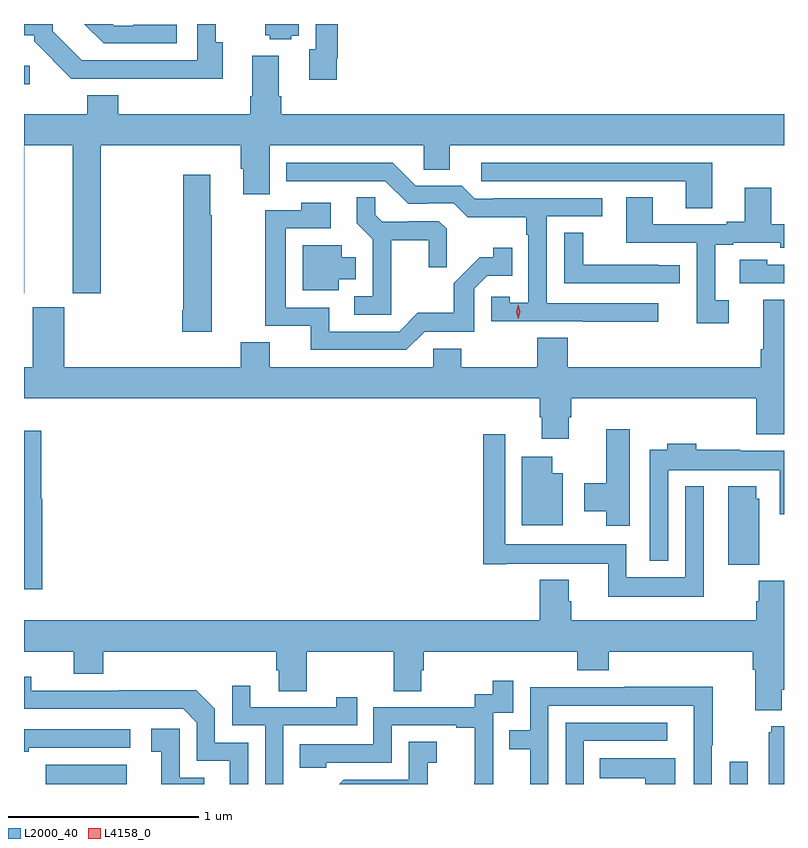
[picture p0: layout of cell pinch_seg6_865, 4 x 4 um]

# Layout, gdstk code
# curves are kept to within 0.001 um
import gdstk
lib = gdstk.Library(unit=1e-6, precision=1e-09)
def R(c, l, rs):  # rectangles x0, y0, x1, y1
    for r in rs: c.add(gdstk.rectangle(r[:2], r[2:], *l))
def P(c, l, *ps):  # polygons
    for p in ps: c.add(gdstk.Polygon(p, *l))
L2000_40 = (2000, 40)
L4158_0 = (4158, 0)

pinch_seg6_865 = lib.new_cell('pinch_seg6_865')
R(pinch_seg6_865, L2000_40, [(182.613,950.635,183.04,950.737), (186.213,950.635,186.309,950.752), (182.499,954.317,182.53,954.415)])
P(pinch_seg6_865, L2000_40, [(183.906,954.572),(183.946,954.572),(183.946,954.635),(183.77,954.635),(183.77,954.576),(183.792,954.576),(183.792,954.554),(183.906,954.554)],
  [(183.304,954.63),(183.073,954.63),(183.073,954.627),(182.973,954.627),(182.965,954.635),(182.817,954.635),(182.918,954.534),(183.304,954.534)],
  [(184.144,954.454),(184.151,954.454),(184.151,954.635),(184.035,954.635),(184.035,954.503),(184.001,954.503),(184.001,954.342),(184.144,954.342)],
  [(183.544,954.538),(183.507,954.538),(183.507,954.635),(183.411,954.635),(183.411,954.444),(182.802,954.444),(182.649,954.597),(182.649,954.635),(182.499,954.635),(182.499,954.575),(182.553,954.575),(182.553,954.543),(182.748,954.348),(183.544,954.347)],
  [(183.793,953.996),(184.602,953.996),(184.602,953.869),(184.741,953.869),(184.741,953.996),(186.499,953.996),(186.499,954.16),(183.854,954.16),(183.854,954.256),(183.841,954.256),(183.841,954.469),(183.701,954.469),(183.701,954.256),(183.689,954.256),(183.689,954.16),(182.996,954.16),(182.996,954.259),(182.831,954.259),(182.831,954.16),(182.499,954.16),(182.499,953.217),(182.5,953.217),(182.5,953.996),(182.756,953.996),(182.756,953.217),(182.904,953.217),(182.904,953.996),(183.641,953.996),(183.641,953.874),(183.653,953.874),(183.653,953.74),(183.793,953.74)],
  [(186.121,953.904),(184.905,953.904),(184.905,953.808),(185.981,953.808),(185.981,953.665),(186.121,953.665)],
  [(185.836,953.166),(185.25,953.166),(185.25,953.622),(185.542,953.622),(185.542,953.718),(184.972,953.718),(184.972,953.715),(184.872,953.715),(184.803,953.784),(184.56,953.784),(184.44,953.904),(183.878,953.904),(183.878,953.808),(184.401,953.808),(184.521,953.688),(184.622,953.688),(184.622,953.691),(184.761,953.691),(184.834,953.618),(185.142,953.618),(185.142,953.525),(185.154,953.525),(185.154,953.167),(185.055,953.167),(185.055,953.199),(184.959,953.199),(184.959,953.07),(185.443,953.07),(185.443,953.068),(185.836,953.068)],
  [(183.486,953.629),(183.478,953.629),(183.478,953.842),(183.337,953.842),(183.337,953.128),(183.332,953.128),(183.332,953.016),(183.486,953.016)],
  [(186.208,953.181),(186.136,953.181),(186.136,953.472),(186.232,953.472),(186.232,953.484),(186.48,953.484),(186.48,953.457),(186.499,953.457),(186.499,953.58),(186.433,953.58),(186.433,953.773),(186.293,953.773),(186.293,953.593),(186.197,953.593),(186.197,953.58),(185.809,953.58),(185.809,953.723),(185.669,953.723),(185.669,953.484),(186.039,953.484),(186.039,953.061),(186.208,953.061)],
  [(184.433,953.498),(184.63,953.498),(184.63,953.355),(184.724,953.355),(184.724,953.557),(184.683,953.598),(184.518,953.598),(184.518,953.595),(184.384,953.595),(184.347,953.632),(184.347,953.723),(184.249,953.723),(184.249,953.587),(184.335,953.501),(184.335,953.202),(184.236,953.202),(184.236,953.106),(184.433,953.106)],
  [(184.608,953.016),(184.869,953.016),(184.869,953.241),(184.938,953.31),(185.069,953.31),(185.069,953.458),(184.968,953.458),(184.968,953.408),(184.898,953.408),(184.761,953.27),(184.761,953.115),(184.572,953.115),(184.473,953.016),(184.105,953.016),(184.105,953.142),(183.876,953.142),(183.876,953.559),(184.114,953.559),(184.114,953.695),(183.958,953.695),(183.958,953.655),(183.768,953.655),(183.768,953.046),(184.007,953.046),(184.007,952.92),(184.512,952.92)],
  [(185.95,953.366),(185.837,953.366),(185.837,953.367),(185.442,953.367),(185.442,953.537),(185.343,953.537),(185.343,953.271),(185.95,953.271)],
  [(184.156,953.291),(184.246,953.291),(184.246,953.407),(184.171,953.407),(184.171,953.47),(183.965,953.47),(183.965,953.234),(184.156,953.234)],
  [(186.499,953.367),(186.411,953.367),(186.411,953.395),(186.267,953.395),(186.267,953.271),(186.499,953.271)],
  [(185.365,952.566),(185.378,952.566),(185.378,952.664),(186.353,952.664),(186.353,952.475),(186.499,952.475),(186.499,953.185),(186.389,953.185),(186.389,952.924),(186.377,952.924),(186.377,952.828),(185.36,952.828),(185.36,952.985),(185.2,952.985),(185.2,952.828),(184.8,952.828),(184.8,952.926),(184.653,952.926),(184.653,952.828),(183.793,952.828),(183.793,952.961),(183.641,952.961),(183.641,952.828),(182.71,952.828),(182.71,953.145),(182.546,953.145),(182.546,952.828),(182.499,952.828),(182.499,952.664),(185.213,952.664),(185.213,952.566),(185.225,952.566),(185.225,952.452),(185.365,952.452)],
  [(185.686,952.501),(185.564,952.501),(185.564,952.218),(185.447,952.218),(185.447,952.07),(185.564,952.07),(185.564,951.993),(185.686,951.993)],
  [(182.596,952.137),(182.591,952.137),(182.591,952.495),(182.499,952.495),(182.499,951.66),(182.596,951.66)],
  [(186.076,952.201),(185.979,952.201),(185.979,951.724),(185.67,951.724),(185.67,951.898),(185.031,951.898),(185.031,952.477),(184.915,952.477),(184.915,951.792),(185.038,951.792),(185.038,951.794),(185.573,951.794),(185.573,951.62),(186.076,951.62)],
  [(185.889,952.286),(186.477,952.286),(186.477,952.056),(186.499,952.056),(186.499,952.39),(186.269,952.39),(186.269,952.393),(186.038,952.393),(186.038,952.426),(185.885,952.426),(185.885,952.393),(185.793,952.393),(185.793,951.809),(185.889,951.809)],
  [(185.335,952.27),(185.278,952.27),(185.278,952.357),(185.12,952.357),(185.12,951.998),(185.335,951.998)],
  [(186.37,952.137),(186.352,952.137),(186.352,952.201),(186.206,952.201),(186.206,951.79),(186.37,951.79)],
  [(182.499,951.332),(182.762,951.332),(182.762,951.215),(182.915,951.215),(182.915,951.332),(183.827,951.332),(183.827,951.234),(183.839,951.234),(183.839,951.124),(183.987,951.124),(183.987,951.332),(184.444,951.332),(184.444,951.124),(184.591,951.124),(184.591,951.234),(184.604,951.234),(184.604,951.332),(185.411,951.332),(185.411,951.233),(185.576,951.233),(185.576,951.332),(186.335,951.332),(186.335,951.236),(186.347,951.236),(186.347,951.023),(186.487,951.023),(186.487,951.13),(186.499,951.13),(186.499,951.705),(186.365,951.705),(186.365,951.596),(186.353,951.596),(186.353,951.496),(185.378,951.496),(185.378,951.597),(185.365,951.597),(185.365,951.709),(185.213,951.709),(185.213,951.496),(182.499,951.496)],
  [(183.678,950.853),(183.504,950.853),(183.504,951.03),(183.406,951.128),(182.998,951.128),(182.998,951.126),(182.538,951.126),(182.538,951.199),(182.499,951.199),(182.499,951.03),(183.336,951.03),(183.408,950.958),(183.408,950.757),(183.581,950.757),(183.581,950.635),(183.678,950.635)],
  [(184.97,950.78),(184.968,950.78),(184.968,951.009),(185.073,951.009),(185.073,951.178),(184.965,951.178),(184.965,951.108),(184.872,951.108),(184.872,951.039),(184.338,951.039),(184.338,950.844),(183.949,950.844),(183.949,950.721),(184.089,950.721),(184.089,950.748),(184.434,950.748),(184.434,950.943),(184.775,950.943),(184.775,950.931),(184.871,950.931),(184.871,950.647),(184.87,950.647),(184.87,950.635),(184.97,950.635)],
  [(183.864,950.943),(184.253,950.943),(184.253,951.091),(184.142,951.091),(184.142,951.039),(183.691,951.039),(183.691,951.151),(183.594,951.151),(183.594,950.943),(183.768,950.943),(183.768,950.635),(183.864,950.635)],
  [(185.259,951.048),(186.023,951.048),(186.023,950.8),(186.024,950.8),(186.024,950.635),(186.12,950.635),(186.12,950.839),(186.123,950.839),(186.123,951.146),(185.659,951.146),(185.659,951.144),(185.163,951.144),(185.163,950.919),(185.053,950.919),(185.053,950.818),(185.163,950.818),(185.163,950.635),(185.259,950.635)],
  [(185.445,950.862),(185.884,950.862),(185.884,950.958),(185.349,950.958),(185.349,950.635),(185.445,950.635)],
  [(186.499,950.938),(186.431,950.938),(186.431,950.907),(186.419,950.907),(186.419,950.635),(186.499,950.635)],
  [(183.447,950.667),(183.318,950.667),(183.318,950.926),(183.168,950.926),(183.168,950.805),(183.221,950.805),(183.221,950.635),(183.447,950.635)],
  [(182.525,950.826),(183.058,950.826),(183.058,950.922),(182.499,950.922),(182.499,950.806),(182.525,950.806)],
  [(184.623,950.747),(184.672,950.747),(184.672,950.857),(184.524,950.857),(184.524,950.658),(184.182,950.658),(184.159,950.635),(184.623,950.635)],
  [(185.926,950.77),(185.53,950.77),(185.53,950.666),(185.769,950.666),(185.769,950.635),(185.926,950.635)])
P(pinch_seg6_865, L4158_0, [(185.1,953.085),(185.1,953.085),(185.09,953.121),(185.1,953.157),(185.1,953.157),(185.1,953.157),(185.11,953.121),(185.1,953.085)])

lib.write_gds('pinch_seg6_865.gds')
